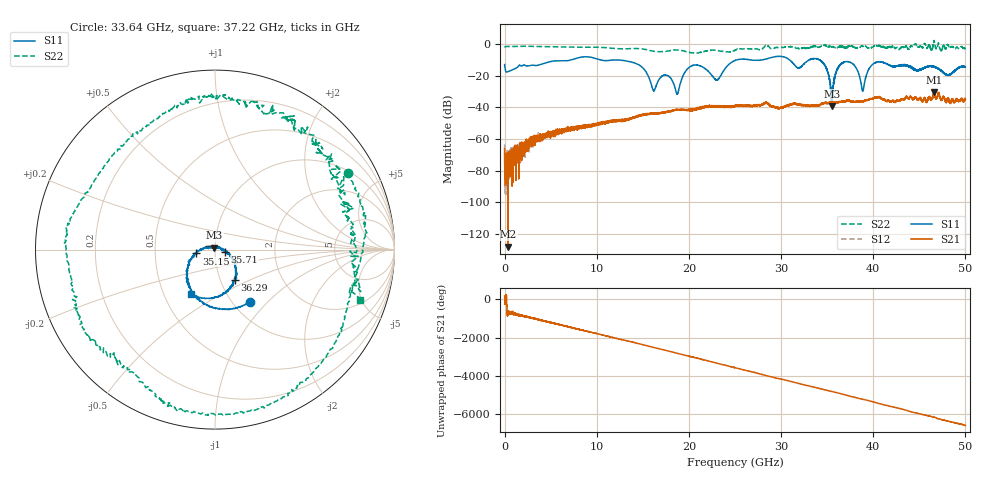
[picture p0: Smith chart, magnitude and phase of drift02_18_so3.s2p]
!Created with skrf (http://scikit-rf.org).
# Hz S RI R 50.0
!freq ReS11 ImS11 ReS21 ImS21 ReS12 ImS12 ReS22 ImS22
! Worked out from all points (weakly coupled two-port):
!   10001 points, 300 kHz to 50 GHz, reference 50 ohm
!   highest |S21| = -30.25 dB at 46.58 GHz (marker M1); lowest = -128.1 dB at 385.3 MHz (marker M2)
!   lowest |S11| = -39.4 dB at 35.5 GHz (marker M3), VSWR 1.02, Z = 49.7 + j1.02 ohm
!   |S11| at or under -10 dB: start of sweep to 7.179 GHz; 12.34 GHz to 25.17 GHz (12.84 GHz wide, 68.4 % of centre); 34.2 GHz to end of sweep (the widest 3 of 17)
!   |S22| runs from -5.7 to 2.3 dB; largest |S21 - S12| = 0.0033
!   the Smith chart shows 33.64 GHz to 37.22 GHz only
!   S11 on the Smith chart (normalised r, x): 33.64 GHz: 1.20, -0.80; 35.15 GHz: 0.81, -0.04; 35.71 GHz: 1.12, -0.03; 36.29 GHz: 1.17, -0.42; 37.22 GHz: 0.68, -0.37
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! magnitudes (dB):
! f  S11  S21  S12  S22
! 300 kHz  -12.9  -66.2  -63.3  -2.1
! 385.3 MHz  -17.3  -128.1  -81.5  -1.4
! 8.335 GHz  -8.2  -52.0  -52.4  -1.9
! 14.03 GHz  -11.7  -46.5  -46.1  -2.8
! 16.14 GHz  -29.2  -43.7  -43.9  -4.4
! 16.67 GHz  -23.2  -43.8  -43.8  -4.7
! 18.74 GHz  -31.5  -41.3  -41.6  -3.7
! 20.24 GHz  -13.9  -41.5  -41.8  -5.5
! 23.04 GHz  -22.7  -38.9  -39.4  -4.1
! 25 GHz  -10.3  -38.9  -39.0  -3.9
! 33.34 GHz  -9.3  -38.8  -38.7  -1.6
! 33.64 GHz  -9.1  -38.9  -38.5  -1.3
! 35.15 GHz  -19.4  -37.5  -37.2  -1.7
! 35.5 GHz  -39.4  -37.0  -36.7  -1.8
! 35.71 GHz  -24.9  -37.1  -36.6  -1.7
! 36.29 GHz  -13.8  -36.2  -36.6  -1.6
! 37.22 GHz  -11.0  -35.8  -35.1  -1.4
! 38.86 GHz  -29.8  -36.0  -36.1  -1.3
! 39.96 GHz  -12.7  -34.2  -34.6  -1.9
! 41.67 GHz  -13.0  -35.6  -35.8  -1.9
! 46.58 GHz  -14.5  -30.2  -30.6  1.7
! 50 GHz  -14.5  -34.8  -34.3  -2.6
